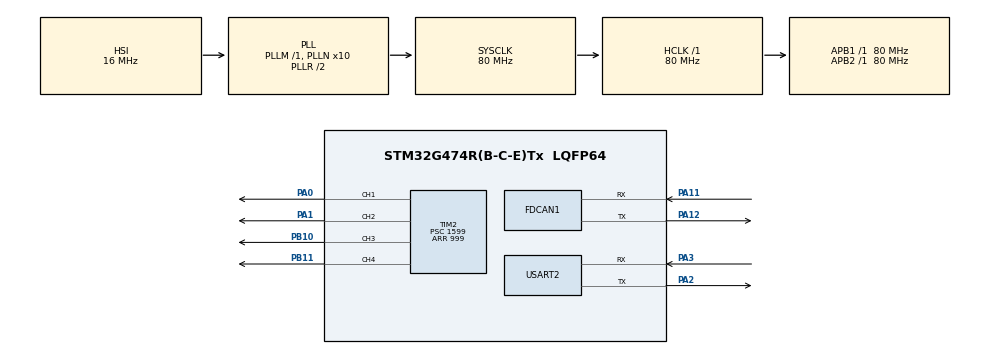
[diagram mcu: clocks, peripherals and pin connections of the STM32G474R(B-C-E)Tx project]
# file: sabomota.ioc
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FDCAN1.CalculateBaudRateNominal=1000000
FDCAN1.CalculateTimeBitNominal=1000
FDCAN1.CalculateTimeQuantumNominal=50.0
FDCAN1.DataPrescaler=2
FDCAN1.DataTimeSeg1=15
FDCAN1.DataTimeSeg2=4
FDCAN1.FrameFormat=FDCAN_FRAME_FD_BRS
FDCAN1.NominalPrescaler=4
FDCAN1.NominalTimeSeg1=15
FDCAN1.NominalTimeSeg2=4
FDCAN1.StdFiltersNbr=1
Mcu.Family=STM32G4
Mcu.Name=STM32G474R(B-C-E)Tx
Mcu.Package=LQFP64
NVIC.FDCAN1_IT0_IRQn=true\:0\:0\:false\:false\:true\:true\:true\:true
NVIC.FDCAN1_IT1_IRQn=true\:0\:0\:false\:false\:true\:true\:true\:true
NVIC.PriorityGroup=NVIC_PRIORITYGROUP_4
NVIC.TIM2_IRQn=true\:0\:0\:false\:false\:true\:true\:true\:true
PA0.Signal=S_TIM2_CH1
PA1.Signal=S_TIM2_CH2
PA11.Mode=FDCAN_Activate
PA11.Signal=FDCAN1_RX
PA12.Mode=FDCAN_Activate
PA12.Signal=FDCAN1_TX
PA2.Mode=Asynchronous
PA2.Signal=USART2_TX
PA3.Mode=Asynchronous
PA3.Signal=USART2_RX
PB10.Signal=S_TIM2_CH3
PB11.Signal=S_TIM2_CH4
ProjectManager.HeapSize=0x200
ProjectManager.StackSize=0x400
ProjectManager.TargetToolchain=CMake
RCC.ADC12Freq_Value=80000000
RCC.ADC345Freq_Value=80000000
RCC.AHBFreq_Value=80000000
RCC.APB1Freq_Value=80000000
RCC.APB1TimFreq_Value=80000000
RCC.APB2Freq_Value=80000000
RCC.APB2TimFreq_Value=80000000
RCC.CortexFreq_Value=80000000
RCC.EXTERNAL_CLOCK_VALUE=12288000
RCC.HCLKFreq_Value=80000000
RCC.HSE_VALUE=8000000
RCC.HSI48_VALUE=48000000
RCC.HSI_VALUE=16000000
RCC.LSE_VALUE=32768
RCC.PLLN=10
RCC.SYSCLKFreq_VALUE=80000000
RCC.SYSCLKSource=RCC_SYSCLKSOURCE_PLLCLK
RCC.USBFreq_Value=80000000
RCC.VCOOutputFreq_Value=160000000
SH.S_TIM2_CH1.0=TIM2_CH1,PWM Generation1 CH1
SH.S_TIM2_CH2.0=TIM2_CH2,PWM Generation2 CH2
SH.S_TIM2_CH3.0=TIM2_CH3,PWM Generation3 CH3
SH.S_TIM2_CH4.0=TIM2_CH4,PWM Generation4 CH4
TIM2.Channel-PWM\ Generation1\ CH1=TIM_CHANNEL_1
TIM2.Channel-PWM\ Generation2\ CH2=TIM_CHANNEL_2
TIM2.Channel-PWM\ Generation3\ CH3=TIM_CHANNEL_3
TIM2.Channel-PWM\ Generation4\ CH4=TIM_CHANNEL_4
TIM2.OCMode_PWM-PWM\ Generation1\ CH1=TIM_OCMODE_PWM1
TIM2.OCPolarity_4=TIM_OCPOLARITY_HIGH
TIM2.PeriodNoDither=999
TIM2.Prescaler=1599
USART2.VirtualMode-Asynchronous=VM_ASYNC
VP_SYS_VS_DBSignals.Mode=DisableDeadBatterySignals
VP_TIM2_VS_ClockSourceINT.Mode=Internal
board=custom

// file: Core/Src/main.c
/* USER CODE BEGIN Header */
/**
  ******************************************************************************
  * @file           : main.c
  * @brief          : Main program body
  ******************************************************************************
  * @attention
  *
  * Copyright (c) 2025 STMicroelectronics.
  * All rights reserved.
  *
  * This software is licensed under terms that can be found in the LICENSE file
  * in the root directory of this software component.
  * If no LICENSE file comes with this software, it is provided AS-IS.
  *
  ******************************************************************************
  */
/* USER CODE END Header */
#include "main.h"

/* USER CODE BEGIN Includes */
#include <stdio.h>
/* USER CODE END Includes */

FDCAN_HandleTypeDef hfdcan1;

TIM_HandleTypeDef htim2;

UART_HandleTypeDef huart2;

/* USER CODE BEGIN PV */
static const uint32_t servo_ccr_steps[2] = {51, 80};  // 2段階(最小角/最大角)のみ
static volatile uint8_t servo1_step_index = 0;
static volatile uint8_t servo2_step_index = 0;
static volatile uint32_t servo_step_counter = 0;
#define SERVO_STEP_INTERVAL_MS 2000
/* USER CODE END PV */

void SystemClock_Config(void);
static void MX_GPIO_Init(void);
static void MX_FDCAN1_Init(void);
static void MX_TIM2_Init(void);
static void MX_USART2_UART_Init(void);
/* USER CODE BEGIN PFP */
int _write(int file, char *ptr, int len);
/* USER CODE END PFP */

/* USER CODE BEGIN 0 */
void HAL_TIM_PeriodElapsedCallback(TIM_HandleTypeDef *htim)
{
    if (htim->Instance == TIM2)
    {
        servo_step_counter++;
        uint32_t steps_needed = SERVO_STEP_INTERVAL_MS / 20;

        if (servo_step_counter >= steps_needed)
        {
            servo_step_counter = 0;

            servo1_step_index = (servo1_step_index + 1) % 2;
            servo2_step_index = (servo2_step_index + 1) % 2;

            __HAL_TIM_SET_COMPARE(&htim2, TIM_CHANNEL_1, servo_ccr_steps[servo1_step_index]);
            __HAL_TIM_SET_COMPARE(&htim2, TIM_CHANNEL_2, servo_ccr_steps[servo2_step_index]);
        }
    }
}

int _write(int file, char *ptr, int len)
{
    HAL_UART_Transmit(&huart2, (uint8_t *)ptr, len, HAL_MAX_DELAY);
    return len;
}
/* USER CODE END 0 */

int main(void)
{

  /* MCU Configuration--------------------------------------------------------*/

  /* Reset of all peripherals, Initializes the Flash interface and the Systick. */
  HAL_Init();

  /* Configure the system clock */
  SystemClock_Config();

  /* Initialize all configured peripherals */
  MX_GPIO_Init();
  MX_FDCAN1_Init();
  MX_TIM2_Init();
  MX_USART2_UART_Init();
  /* USER CODE BEGIN 2 */
  HAL_TIM_PWM_Start(&htim2, TIM_CHANNEL_1);
  HAL_TIM_PWM_Start(&htim2, TIM_CHANNEL_2);
  __HAL_TIM_SET_COMPARE(&htim2, TIM_CHANNEL_1, servo_ccr_steps[0]);
  __HAL_TIM_SET_COMPARE(&htim2, TIM_CHANNEL_2, servo_ccr_steps[0]);
  HAL_TIM_Base_Start_IT(&htim2);
  /* USER CODE END 2 */

  /* Infinite loop */
  while (1)
  {

    /* USER CODE BEGIN 3 */
  // __HAL_TIM_SET_COMPARE(&htim2,TIM_CHANNEL_1,51);
  // HAL_Delay(2000);
  // __HAL_TIM_SET_COMPARE(&htim2,TIM_CHANNEL_1,60);
  // HAL_Delay(2000);
  // __HAL_TIM_SET_COMPARE(&htim2,TIM_CHANNEL_1,80);
  // HAL_Delay(2000);
  // __HAL_TIM_SET_COMPARE(&htim2,TIM_CHANNEL_1,99);
  // HAL_Delay(2000);
  printf("%d\n", servo_step_counter);
  }
  /* USER CODE END 3 */
}

void SystemClock_Config(void)
{
  RCC_OscInitTypeDef RCC_OscInitStruct = {0};
  RCC_ClkInitTypeDef RCC_ClkInitStruct = {0};

  /** Configure the main internal regulator output voltage
  */
  HAL_PWREx_ControlVoltageScaling(PWR_REGULATOR_VOLTAGE_SCALE1);

  /** Initializes the RCC Oscillators according to the specified parameters
  * in the RCC_OscInitTypeDef structure.
  */
  RCC_OscInitStruct.OscillatorType = RCC_OSCILLATORTYPE_HSI;
  RCC_OscInitStruct.HSIState = RCC_HSI_ON;
  RCC_OscInitStruct.HSICalibrationValue = RCC_HSICALIBRATION_DEFAULT;
  RCC_OscInitStruct.PLL.PLLState = RCC_PLL_ON;
  RCC_OscInitStruct.PLL.PLLSource = RCC_PLLSOURCE_HSI;
  RCC_OscInitStruct.PLL.PLLM = RCC_PLLM_DIV1;
  RCC_OscInitStruct.PLL.PLLN = 10;
  RCC_OscInitStruct.PLL.PLLP = RCC_PLLP_DIV2;
  RCC_OscInitStruct.PLL.PLLQ = RCC_PLLQ_DIV2;
  RCC_OscInitStruct.PLL.PLLR = RCC_PLLR_DIV2;
  if (HAL_RCC_OscConfig(&RCC_OscInitStruct) != HAL_OK)
  {
    Error_Handler();
  }

  /** Initializes the CPU, AHB and APB buses clocks
  */
  RCC_ClkInitStruct.ClockType = RCC_CLOCKTYPE_HCLK|RCC_CLOCKTYPE_SYSCLK
                              |RCC_CLOCKTYPE_PCLK1|RCC_CLOCKTYPE_PCLK2;
  RCC_ClkInitStruct.SYSCLKSource = RCC_SYSCLKSOURCE_PLLCLK;
  RCC_ClkInitStruct.AHBCLKDivider = RCC_SYSCLK_DIV1;
  RCC_ClkInitStruct.APB1CLKDivider = RCC_HCLK_DIV1;
  RCC_ClkInitStruct.APB2CLKDivider = RCC_HCLK_DIV1;

  if (HAL_RCC_ClockConfig(&RCC_ClkInitStruct, FLASH_LATENCY_2) != HAL_OK)
  {
    Error_Handler();
  }
}

static void MX_FDCAN1_Init(void)
{

  hfdcan1.Instance = FDCAN1;
  hfdcan1.Init.ClockDivider = FDCAN_CLOCK_DIV1;
  hfdcan1.Init.FrameFormat = FDCAN_FRAME_FD_BRS;
  hfdcan1.Init.Mode = FDCAN_MODE_NORMAL;
  hfdcan1.Init.AutoRetransmission = DISABLE;
  hfdcan1.Init.TransmitPause = DISABLE;
  hfdcan1.Init.ProtocolException = DISABLE;
  hfdcan1.Init.NominalPrescaler = 4;
  hfdcan1.Init.NominalSyncJumpWidth = 1;
  hfdcan1.Init.NominalTimeSeg1 = 15;
  hfdcan1.Init.NominalTimeSeg2 = 4;
  hfdcan1.Init.DataPrescaler = 2;
  hfdcan1.Init.DataSyncJumpWidth = 1;
  hfdcan1.Init.DataTimeSeg1 = 15;
  hfdcan1.Init.DataTimeSeg2 = 4;
  hfdcan1.Init.StdFiltersNbr = 1;
  hfdcan1.Init.ExtFiltersNbr = 0;
  hfdcan1.Init.TxFifoQueueMode = FDCAN_TX_FIFO_OPERATION;
  if (HAL_FDCAN_Init(&hfdcan1) != HAL_OK)
  {
    Error_Handler();
  }

}

static void MX_TIM2_Init(void)
{

  TIM_ClockConfigTypeDef sClockSourceConfig = {0};
  TIM_MasterConfigTypeDef sMasterConfig = {0};
  TIM_OC_InitTypeDef sConfigOC = {0};

  htim2.Instance = TIM2;
  htim2.Init.Prescaler = 1599;
  htim2.Init.CounterMode = TIM_COUNTERMODE_UP;
  htim2.Init.Period = 999;
  htim2.Init.ClockDivision = TIM_CLOCKDIVISION_DIV1;
  htim2.Init.AutoReloadPreload = TIM_AUTORELOAD_PRELOAD_DISABLE;
  if (HAL_TIM_Base_Init(&htim2) != HAL_OK)
  {
    Error_Handler();
  }
  sClockSourceConfig.ClockSource = TIM_CLOCKSOURCE_INTERNAL;
  if (HAL_TIM_ConfigClockSource(&htim2, &sClockSourceConfig) != HAL_OK)
  {
    Error_Handler();
  }
  if (HAL_TIM_PWM_Init(&htim2) != HAL_OK)
  {
    Error_Handler();
  }
  sMasterConfig.MasterOutputTrigger = TIM_TRGO_RESET;
  sMasterConfig.MasterSlaveMode = TIM_MASTERSLAVEMODE_DISABLE;
  if (HAL_TIMEx_MasterConfigSynchronization(&htim2, &sMasterConfig) != HAL_OK)
  {
    Error_Handler();
  }

  sConfigOC.OCMode = TIM_OCMODE_PWM1;
  sConfigOC.Pulse = 0;
  sConfigOC.OCFastMode = TIM_OCFAST_DISABLE;

  /* CH1(PA0, Servo1)はフォトカプラで論理反転されるためLOWにする */
  sConfigOC.OCPolarity = TIM_OCPOLARITY_LOW;
  if (HAL_TIM_PWM_ConfigChannel(&htim2, &sConfigOC, TIM_CHANNEL_1) != HAL_OK)
  {
    Error_Handler();
  }

  /* 将来CH2/CH3(Servo2/Servo3)も使うなら同様にLOWで統一 */
  sConfigOC.OCPolarity = TIM_OCPOLARITY_LOW;
  if (HAL_TIM_PWM_ConfigChannel(&htim2, &sConfigOC, TIM_CHANNEL_2) != HAL_OK)
  {
    Error_Handler();
  }
  if (HAL_TIM_PWM_ConfigChannel(&htim2, &sConfigOC, TIM_CHANNEL_3) != HAL_OK)
  {
    Error_Handler();
  }

  /* CH4はサーボ用途ではないのでHIGHのままでも問題ありません */
  sConfigOC.OCPolarity = TIM_OCPOLARITY_HIGH;
  if (HAL_TIM_PWM_ConfigChannel(&htim2, &sConfigOC, TIM_CHANNEL_4) != HAL_OK)
  {
    Error_Handler();
  }

  HAL_TIM_MspPostInit(&htim2);

}

static void MX_USART2_UART_Init(void)
{

  huart2.Instance = USART2;
  huart2.Init.BaudRate = 115200;
  huart2.Init.WordLength = UART_WORDLENGTH_8B;
  huart2.Init.StopBits = UART_STOPBITS_1;
  huart2.Init.Parity = UART_PARITY_NONE;
  huart2.Init.Mode = UART_MODE_TX_RX;
  huart2.Init.HwFlowCtl = UART_HWCONTROL_NONE;
  huart2.Init.OverSampling = UART_OVERSAMPLING_16;
  huart2.Init.OneBitSampling = UART_ONE_BIT_SAMPLE_DISABLE;
  huart2.Init.ClockPrescaler = UART_PRESCALER_DIV1;
  huart2.AdvancedInit.AdvFeatureInit = UART_ADVFEATURE_NO_INIT;
  if (HAL_UART_Init(&huart2) != HAL_OK)
  {
    Error_Handler();
  }
  if (HAL_UARTEx_SetTxFifoThreshold(&huart2, UART_TXFIFO_THRESHOLD_1_8) != HAL_OK)
  {
    Error_Handler();
  }
  if (HAL_UARTEx_SetRxFifoThreshold(&huart2, UART_RXFIFO_THRESHOLD_1_8) != HAL_OK)
  {
    Error_Handler();
  }
  if (HAL_UARTEx_DisableFifoMode(&huart2) != HAL_OK)
  {
    Error_Handler();
  }

}

static void MX_GPIO_Init(void)
{
  GPIO_InitTypeDef GPIO_InitStruct = {0};

  /* GPIO Ports Clock Enable */
  __HAL_RCC_GPIOA_CLK_ENABLE();
  __HAL_RCC_GPIOB_CLK_ENABLE();

  /*Configure GPIO pins : PA2 PA3 */
  GPIO_InitStruct.Pin = GPIO_PIN_2|GPIO_PIN_3;
  GPIO_InitStruct.Mode = GPIO_MODE_AF_PP;
  GPIO_InitStruct.Pull = GPIO_NOPULL;
  GPIO_InitStruct.Speed = GPIO_SPEED_FREQ_LOW;
  GPIO_InitStruct.Alternate = GPIO_AF7_USART2;
  HAL_GPIO_Init(GPIOA, &GPIO_InitStruct);
}

void Error_Handler(void)
{
  __disable_irq();
  while (1)
  {
  }
}
